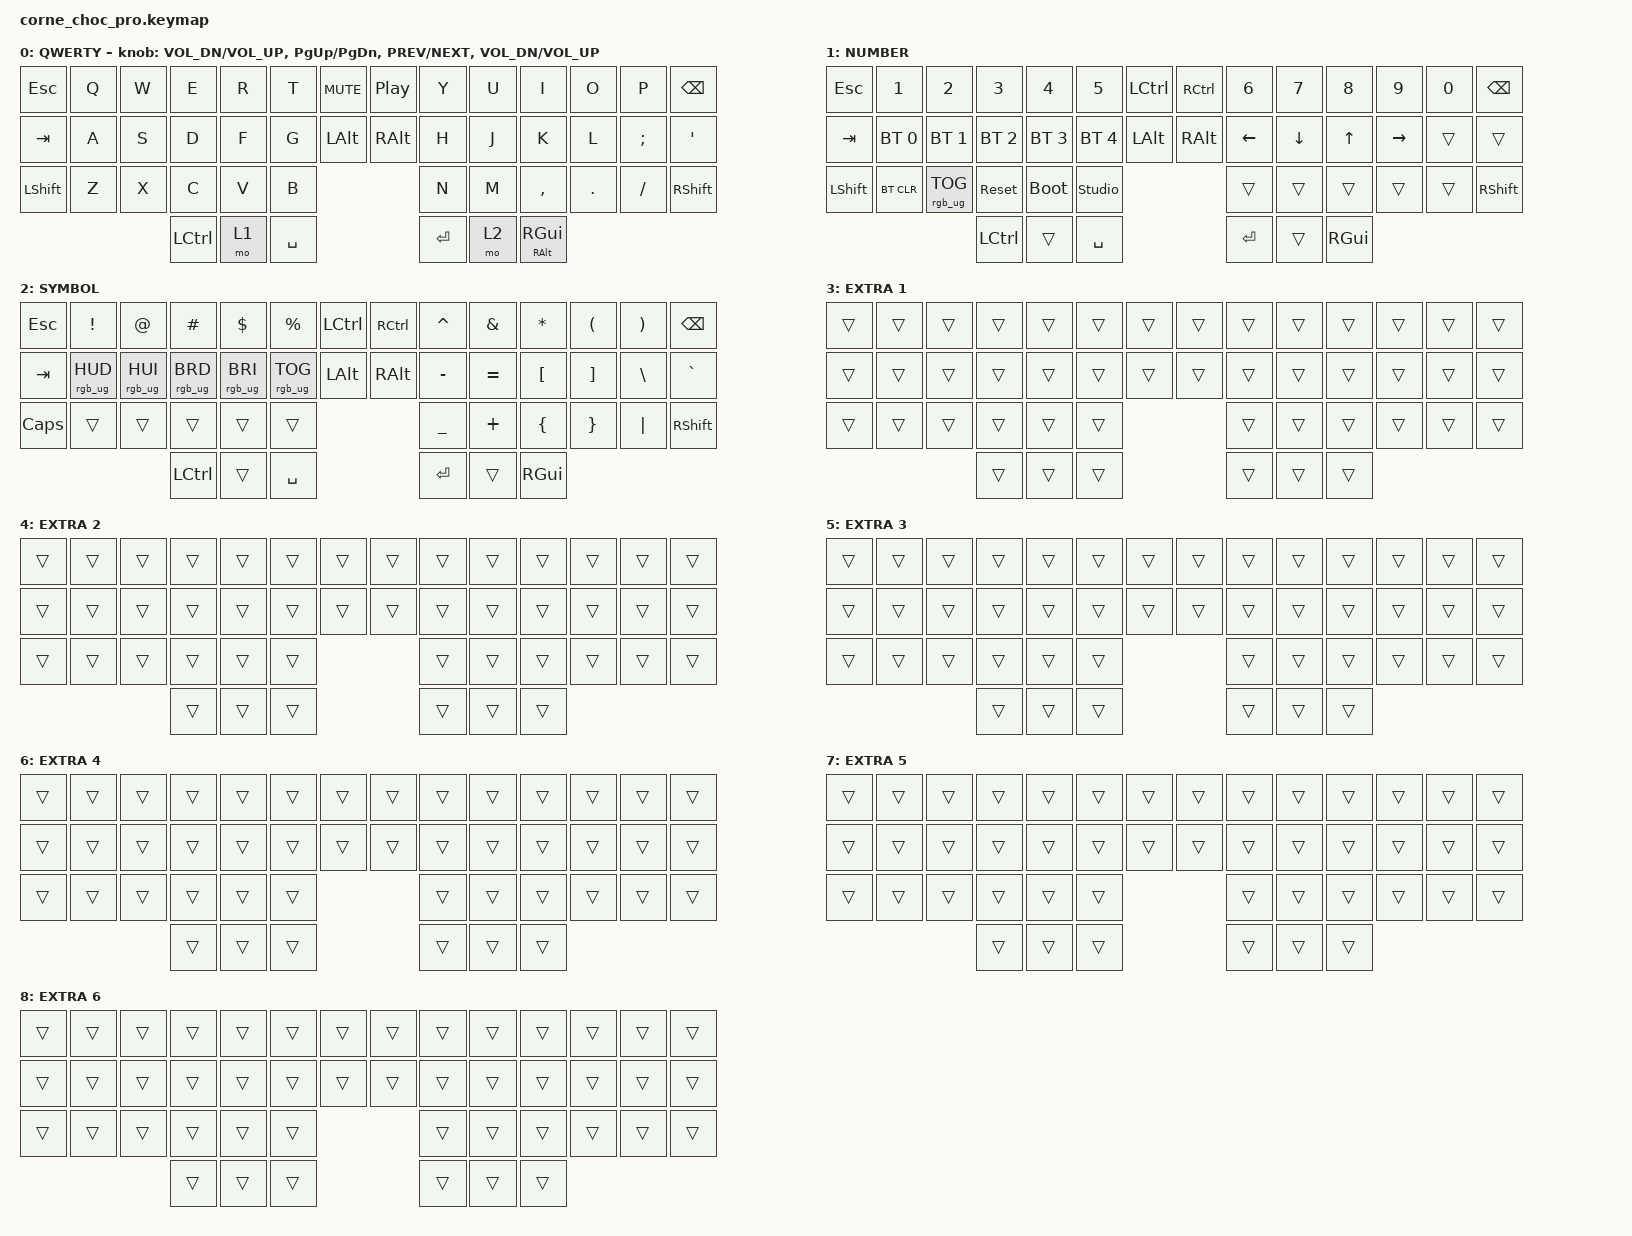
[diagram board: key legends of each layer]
/*
 * Copyright (c) 2020 The ZMK Contributors
 *
 * SPDX-License-Identifier: MIT
 */

#include <behaviors.dtsi>
#include <dt-bindings/zmk/keys.h>
#include <dt-bindings/zmk/bt.h>
#include <dt-bindings/zmk/rgb.h>

/ {
    chosen {
        zmk,physical-layout = &default_layout;
    };
};

/ {
    keymap {
        compatible = "zmk,keymap";

        default_layer {
            display-name = "QWERTY";
            // --------------------------------------------------------------------------------
            // | ESC  |  Q  |  W  |  E  |  R  |  T  |  MUTE |  PP   |  Y  |  U   |  I  |  O  |  P  | BSPC |
            // | TAB  |  A  |  S  |  D  |  F  |  G  |  LALT |  RALT |  H  |  J   |  K  |  L  |  ;  |  '   |
            // | SHFT |  Z  |  X  |  C  |  V  |  B  |               |  N  |  M   |  ,  |  .  |  /  | SHFT |
            //                    | CTRL| LWR | SPC |               | ENT | RSE  | GUI/ALT |
            bindings = <
                &kp ESC   &kp Q &kp W &kp E &kp R &kp T &kp C_MUTE &kp C_PP &kp Y &kp U  &kp I     &kp O   &kp P    &kp BSPC
                &kp TAB   &kp A &kp S &kp D &kp F &kp G &kp LALT   &kp RALT &kp H &kp J  &kp K     &kp L   &kp SEMI &kp SQT
                &kp LSHFT &kp Z &kp X &kp C &kp V &kp B                     &kp N &kp M  &kp COMMA &kp DOT &kp FSLH &kp RSHFT
                                      &kp LCTRL &mo 1 &kp SPACE             &kp RET &mo 2 &mt RALT RGUI
            >;
            sensor-bindings = <&inc_dec_kp C_VOL_DN C_VOL_UP &inc_dec_kp PG_UP PG_DN &inc_dec_kp C_PREV C_NEXT &inc_dec_kp C_VOL_DN C_VOL_UP>;
        };

        lower_layer {
            display-name = "NUMBER";
            // -----------------------------------------------------------------------------------------
            // | ESC  |  1  |  2  |  3  |  4  |  5    |  LCTRL | RCTRL |  6  |  7  |  8  |  9  |  0  | BSPC |
            // | TAB  | BT1 | BT2 | BT3 | BT4 | BT5   |  LALT  | RALT  | LFT | DWN |  UP | RGT |     |      |
            // | SHFT | BTCR| RGB | RST | BOOT| Unlock|        |       |     |     |     |     |     | SHFT |
            //                    | CTRL|     | SPC   |        | ENT   |     | GUI |
            bindings = <
                &kp ESC   &kp N1       &kp N2          &kp N3       &kp N4       &kp N5       &kp LCTRL &kp RCTRL &kp N6   &kp N7   &kp N8 &kp N9    &kp N0 &kp BSPC
                &kp TAB   &bt BT_SEL 0 &bt BT_SEL 1    &bt BT_SEL 2 &bt BT_SEL 3 &bt BT_SEL 4 &kp LALT  &kp RALT  &kp LEFT &kp DOWN &kp UP &kp RIGHT &trans &trans
                &kp LSHFT &bt BT_CLR   &rgb_ug RGB_TOG &sys_reset   &bootloader  &studio_unlock                 &trans   &trans   &trans &trans    &trans &kp RSHFT
                                                       &kp LCTRL    &trans       &kp SPACE                      &kp RET  &trans   &kp RGUI
            >;
        };

        raise_layer {
            display-name = "SYMBOL";
            // -----------------------------------------------------------------------------------------
            // | ESC  |  !  |  @  |  #  |  $  |  %  | LCTRL | RCTRL |  ^  |  &  |  *  |  (  |  )  | BSPC |
            // | TAB  | HUD | HUI | BRD | BRI | TOG | LALT  | RALT  |  -  |  =  |  [  |  ]  |  \  |  `   |
            // | CAPS |     |     |     |     |     |               |  _  |  +  |  {  |  }  | "|" | SHFT |
            //                    | CTRL|     | SPC |               | ENT |     | GUI |
            bindings = <
                &kp ESC   &kp EXCL        &kp AT          &kp HASH        &kp DLLR        &kp PRCNT       &kp LCTRL &kp RCTRL &kp CARET &kp AMPS  &kp ASTRK &kp LPAR &kp RPAR &kp BSPC
                &kp TAB   &rgb_ug RGB_HUD &rgb_ug RGB_HUI &rgb_ug RGB_BRD &rgb_ug RGB_BRI &rgb_ug RGB_TOG &kp LALT  &kp RALT  &kp MINUS &kp EQUAL &kp LBKT  &kp RBKT &kp BSLH &kp GRAVE
                &kp CAPS &trans          &trans          &trans          &trans          &trans                              &kp UNDER &kp PLUS  &kp LBRC  &kp RBRC &kp PIPE &kp RSHFT
                                                          &kp LCTRL       &trans          &kp SPACE                           &kp RET   &trans    &kp RGUI
            >;
        };

        extra_layer_1 {
            display-name = "EXTRA 1";
            bindings = <
                &trans &trans &trans &trans &trans &trans &trans &trans &trans &trans &trans &trans &trans &trans
                &trans &trans &trans &trans &trans &trans &trans &trans &trans &trans &trans &trans &trans &trans
                &trans &trans &trans &trans &trans &trans               &trans &trans &trans &trans &trans &trans
                                     &trans &trans &trans               &trans &trans &trans       
            >;
        };

        extra_layer_2 {
            display-name = "EXTRA 2";
            bindings = <
                &trans &trans &trans &trans &trans &trans &trans &trans &trans &trans &trans &trans &trans &trans
                &trans &trans &trans &trans &trans &trans &trans &trans &trans &trans &trans &trans &trans &trans
                &trans &trans &trans &trans &trans &trans               &trans &trans &trans &trans &trans &trans
                                     &trans &trans &trans               &trans &trans &trans       
            >;
        };

        extra_layer_3 {
            display-name = "EXTRA 3";
            bindings = <
                &trans &trans &trans &trans &trans &trans &trans &trans &trans &trans &trans &trans &trans &trans
                &trans &trans &trans &trans &trans &trans &trans &trans &trans &trans &trans &trans &trans &trans
                &trans &trans &trans &trans &trans &trans               &trans &trans &trans &trans &trans &trans
                                     &trans &trans &trans               &trans &trans &trans       
            >;
        };

        extra_layer_4 {
            display-name = "EXTRA 4";
            bindings = <
                &trans &trans &trans &trans &trans &trans &trans &trans &trans &trans &trans &trans &trans &trans
                &trans &trans &trans &trans &trans &trans &trans &trans &trans &trans &trans &trans &trans &trans
                &trans &trans &trans &trans &trans &trans               &trans &trans &trans &trans &trans &trans
                                     &trans &trans &trans               &trans &trans &trans       
            >;
        };

        extra_layer_5 {
            display-name = "EXTRA 5";
            bindings = <
                &trans &trans &trans &trans &trans &trans &trans &trans &trans &trans &trans &trans &trans &trans
                &trans &trans &trans &trans &trans &trans &trans &trans &trans &trans &trans &trans &trans &trans
                &trans &trans &trans &trans &trans &trans               &trans &trans &trans &trans &trans &trans
                                     &trans &trans &trans               &trans &trans &trans       
            >;
        };

        extra_layer_6 {
            display-name = "EXTRA 6";
            bindings = <
                &trans &trans &trans &trans &trans &trans &trans &trans &trans &trans &trans &trans &trans &trans
                &trans &trans &trans &trans &trans &trans &trans &trans &trans &trans &trans &trans &trans &trans
                &trans &trans &trans &trans &trans &trans               &trans &trans &trans &trans &trans &trans
                                     &trans &trans &trans               &trans &trans &trans       
            >;
        };
    };
};
